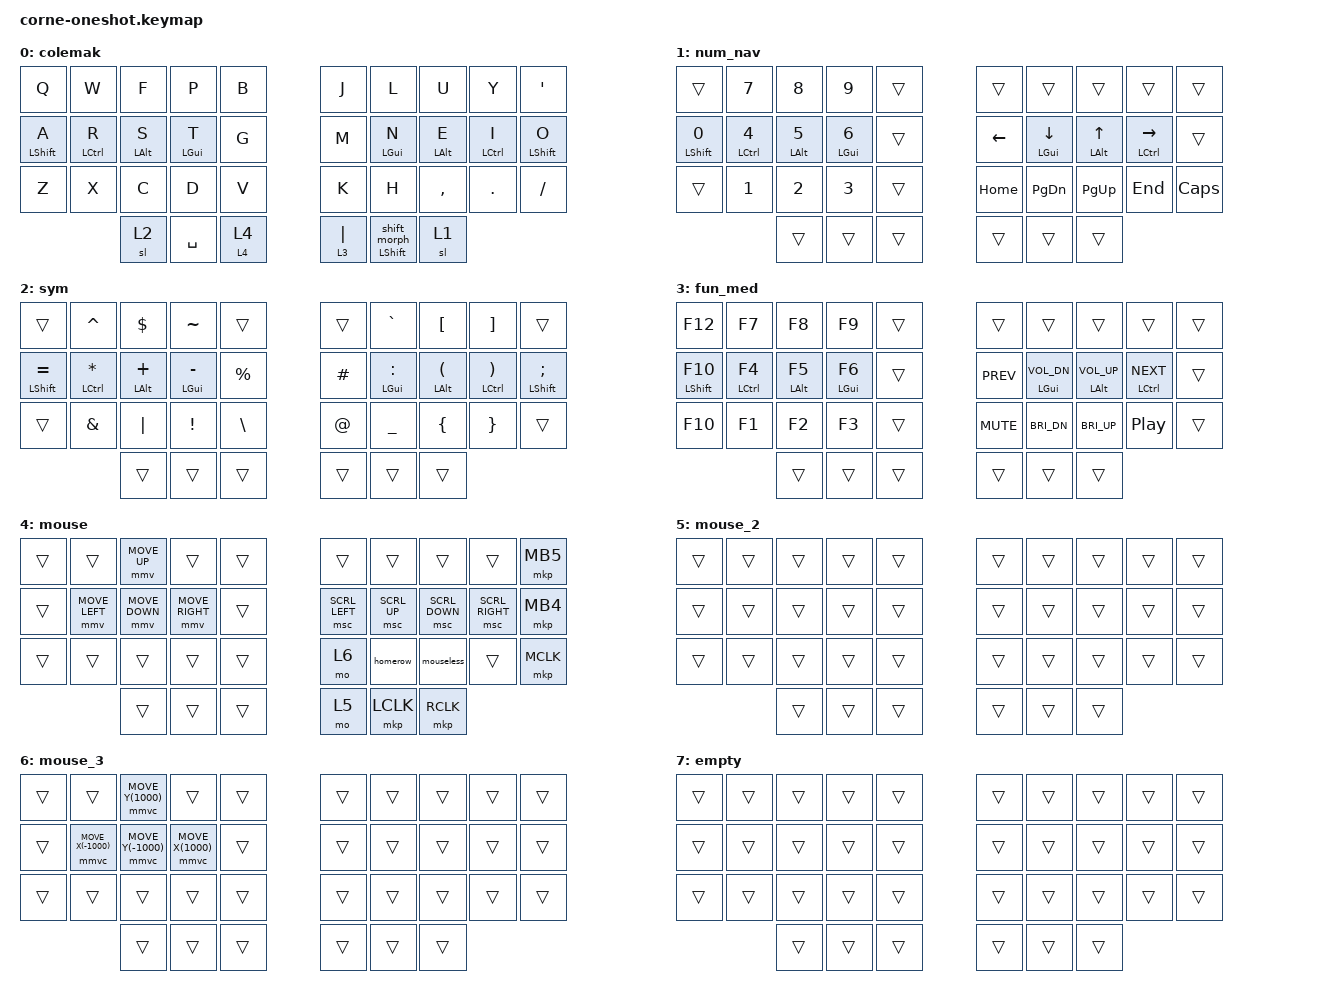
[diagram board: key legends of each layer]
#define ZMK_POINTING_DEFAULT_MOVE_VAL 1500 // 600
#define ZMK_POINTING_DEFAULT_SCRL_VAL 30 // 10

#define ___ &trans

#include <behaviors.dtsi>
#include <dt-bindings/zmk/keys.h>
#include <dt-bindings/zmk/bt.h>

#include <dt-bindings/zmk/pointing.h>
#include <input/processors.dtsi>

&mmv {
    acceleration-exponent = <1>;      // 1
    time-to-max-speed-ms = <500>;     // 300
    trigger-period-ms = <8>;
};

&msc {
    acceleration-exponent = <1>;      // 0
    time-to-max-speed-ms = <40>;      // 300
    trigger-period-ms = <8>;
};

&mmv_input_listener {
    precision {
        layers = <5>;
        input-processors = <&zip_xy_scaler 1 4>;
    };
};

&msc_input_listener {
    turbo {
        layers = <5>;
        input-processors = <&zip_scroll_scaler 4 1>;
    };
};

// make sticky keys release on the next key press instead of the default key
// release, this was causing problems with rolling letters
&sk {
    quick-release;
};

/ {
    macros {
        mouseless: mouseless {
            compatible = "zmk,behavior-macro";
            #binding-cells = <0>;
            bindings
                = <&macro_tap &to 0>
                , <&macro_tap &kp LA(LC(LS(LG(F))))>;
        };
        homerow: homerow {
            compatible = "zmk,behavior-macro";
            #binding-cells = <0>;
            bindings
                = <&macro_tap &to 0>
                , <&macro_tap &kp LA(LC(LS(LG(H))))>;
        };
    };
};

/ {
    combos {
        compatible = "zmk,combos";

        combo_mouse_off {
            timeout-ms = <35>;
            key-positions = <11 12>;
            bindings = <&tog 4>;
            layers = <4>;
        };

        combo_homerow {
            timeout-ms = <35>;
            key-positions = <2 12>;
            bindings = <&kp LA(LC(LS(LG(H))))>;
            require-prior-idle-ms = <125>;
        };
        combo_mouseless {
            timeout-ms = <35>;
            key-positions = <13 14>;
            bindings = <&kp LA(LC(LS(LG(F))))>;
            require-prior-idle-ms = <125>;
        };
        combo_esc {
            timeout-ms = <35>;
            key-positions = <11 12>;
            bindings = <&lmt LA(LCTRL) ESC>;
            require-prior-idle-ms = <125>;
        };
        combo_alt_bspc {
            timeout-ms = <35>;
            key-positions = <16 17>;
            bindings = <&rmt LA(LGUI) LA(BSPC)>;
            require-prior-idle-ms = <125>;
        };
        combo_bspc {
            timeout-ms = <35>;
            key-positions = <17 18>;
            bindings = <&rmt LA(LCTRL) BSPC>;
            require-prior-idle-ms = <125>;
        };
        combo_del {
            timeout-ms = <35>;
            key-positions = <18 19>;
            bindings = <&rmt LC(LSHIFT) DEL>;
            require-prior-idle-ms = <125>;
        };
        combo_tab {
            timeout-ms = <35>;
            key-positions = <21 22>;
            bindings = <&kp TAB>;
            require-prior-idle-ms = <125>;
        };
        combo_shift_tab {
            timeout-ms = <35>;
            key-positions = <20 21>;
            bindings = <&kp LS(TAB)>;
            require-prior-idle-ms = <125>;
        };
        combo_ret {
            timeout-ms = <35>;
            key-positions = <27 28>;
            bindings = <&kp RET>;
            require-prior-idle-ms = <125>;
        };
        combo_shift_ret {
            timeout-ms = <35>;
            key-positions = <26 27>;
            bindings = <&kp LS(RET)>;
            require-prior-idle-ms = <125>;
        };
    };
};

/ {
    chosen {
        zmk,physical-layout = &foostan_corne_5col_layout;
    };

    behaviors {
        mmvc: mouse_move_constant {
                compatible = "zmk,behavior-input-two-axis";
                #binding-cells = <1>;
                x-input-code = <INPUT_REL_X>;
                y-input-code = <INPUT_REL_Y>;
                time-to-max-speed-ms = <300>;  // irrelevant
                acceleration-exponent = <0>;  // changed to zero
        };

        mmvc_input_listener: mmvc_input_listener {
            compatible = "zmk,input-listener";
            device = <&mmvc>;
        };

        mo_tog: mo_tog {
            compatible = "zmk,behavior-hold-tap";
            flavor = "hold-preferred";
            bindings = <&mo>, <&tog>;
            #binding-cells = <2>;
            tapping-term-ms = <150>;
        };

        // urob idea: use mod-morph instead of tap-dance to avoid the delay.
        // The first press activates shift, the second press sees that shift is
        // active and triggers caps_word.
        shift_morph: shift_morph {
            compatible = "zmk,behavior-mod-morph";
            #binding-cells = <0>;
            bindings = <&sk LSHFT>, <&caps_word>;
            mods = <(MOD_LSFT)>;
        };
        msft: magic_shift {
            compatible = "zmk,behavior-hold-tap";
            #binding-cells = <2>;
            flavor = "balanced";
            tapping-term-ms = <200>;
            quick-tap-ms = <175>;
            bindings = <&kp>, <&shift_morph>;
        };

        blt: balanced_layer_tap {
            compatible = "zmk,behavior-hold-tap";
            flavor = "balanced";
            bindings = <&mo>, <&kp>;
            #binding-cells = <2>;
            tapping-term-ms = <200>;
            quick-tap-ms = <200>;
        };
        bmt: balanced_mod_tap {
            compatible = "zmk,behavior-hold-tap";
            flavor = "balanced";
            bindings = <&kp>, <&kp>;
            #binding-cells = <2>;
            tapping-term-ms = <200>;
            quick-tap-ms = <200>;
        };
        lmt: left_mod_tap {
            compatible = "zmk,behavior-hold-tap";
            flavor = "balanced";
            bindings = <&kp>, <&kp>;
            #binding-cells = <2>;
            tapping-term-ms = <200>;
            quick-tap-ms = <200>;
            require-prior-idle-ms = <125>;
            hold-trigger-key-positions = <5 6 7 8 9 15 16 17 18 19 25 26 27 28 29 33 34 35>;
            hold-trigger-on-release;
        };
        rmt: right_mod_tap {
            compatible = "zmk,behavior-hold-tap";
            flavor = "balanced";
            bindings = <&kp>, <&kp>;
            #binding-cells = <2>;
            tapping-term-ms = <200>;
            quick-tap-ms = <200>;
            require-prior-idle-ms = <125>;
            hold-trigger-key-positions = <0 1 2 3 4 10 11 12 13 14 20 21 22 23 24 30 31 32>;
            hold-trigger-on-release;
        };
    };

    keymap {
        compatible = "zmk,keymap";

        colemak {
            bindings = <
&kp Q               &kp W               &kp F               &kp P               &kp B               &kp J               &kp L               &kp U               &kp Y               &kp SQT
&lmt LSHIFT A       &lmt LCTRL R        &lmt LALT S         &lmt LGUI T         &kp G               &kp M               &rmt LGUI N         &rmt LALT E         &rmt LCTRL I        &rmt LSHIFT O
&kp Z               &kp X               &kp C               &kp D               &kp V               &kp K               &kp H               &kp COMMA           &kp DOT             &kp FSLH
                                        &sl 2               &kp SPACE           &mo_tog 4 4         &blt 3 PIPE         &msft LSHIFT 0      &sl 1
            >;
        };

        num_nav {
            bindings = <
___                 &kp N7              &kp N8              &kp N9              ___                 ___                 ___                 ___                 ___                 ___
&lmt LSHIFT N0      &lmt LCTRL N4       &lmt LALT N5        &lmt LGUI N6        ___                 &kp LEFT            &rmt LGUI DOWN      &rmt LALT UP        &rmt LCTRL RIGHT    ___
___                 &kp N1              &kp N2              &kp N3              ___                 &kp HOME            &kp PG_DN           &kp PG_UP           &kp END             &kp CAPS
                                        ___                 ___                 ___                 ___                 ___                 ___
            >;
        };

        sym {
            bindings = <
___                 &kp CARET           &kp DLLR            &kp TILDE           ___                 ___                 &kp GRAVE           &kp LBKT            &kp RBKT            ___
&lmt LSHIFT EQUAL   &lmt LCTRL STAR     &lmt LALT PLUS      &lmt LGUI MINUS     &kp PRCNT           &kp HASH            &rmt LGUI COLON     &rmt LALT LPAR      &rmt LCTRL RPAR     &rmt LSHIFT SEMI
___                 &kp AMPS            &kp PIPE            &kp EXCL            &kp BSLH            &kp AT              &kp UNDER           &kp LBRC            &kp RBRC            ___
                                        ___                 ___                 ___                 ___                 ___                 ___
            >;
        };

        fun_med {
            bindings = <
&kp F12             &kp F7              &kp F8              &kp F9              ___                 ___                 ___                 ___                 ___                 ___
&lmt LSHIFT F10     &lmt LCTRL F4       &lmt LALT F5        &lmt LGUI F6        ___                 &kp C_PREV          &rmt LGUI C_VOL_DN  &rmt LALT C_VOL_UP  &rmt LCTRL C_NEXT   ___
&kp F10             &kp F1              &kp F2              &kp F3              ___                 &kp C_MUTE          &kp C_BRI_DN        &kp C_BRI_UP        &kp C_PP            ___
                                        ___                 ___                 ___                 ___                 ___                 ___
            >;
        };

        mouse {
            bindings = <
___                 ___                 &mmv MOVE_UP        ___                 ___                 ___                 ___                 ___                 ___                 &mkp MB5
___                 &mmv MOVE_LEFT      &mmv MOVE_DOWN      &mmv MOVE_RIGHT     ___                 &msc SCRL_LEFT      &msc SCRL_UP        &msc SCRL_DOWN      &msc SCRL_RIGHT     &mkp MB4
___                 ___                 ___                 ___                 ___                 &mo 6               &homerow            &mouseless          ___                 &mkp MCLK
                                        ___                 ___                 ___                 &mo 5               &mkp LCLK           &mkp RCLK
            >;
        };

        mouse_2 {
            bindings = <
___                 ___                 ___                 ___                 ___                 ___                 ___                 ___                 ___                 ___
___                 ___                 ___                 ___                 ___                 ___                 ___                 ___                 ___                 ___
___                 ___                 ___                 ___                 ___                 ___                 ___                 ___                 ___                 ___
                                        ___                 ___                 ___                 ___                 ___                 ___
            >;
        };

        mouse_3 {
            bindings = <
___                 ___                 &mmvc MOVE_Y(1000)  ___                 ___                 ___                 ___                 ___                 ___                 ___
___                 &mmvc MOVE_X(-1000) &mmvc MOVE_Y(-1000) &mmvc MOVE_X(1000)  ___                 ___                 ___                 ___                 ___                 ___
___                 ___                 ___                 ___                 ___                 ___                 ___                 ___                 ___                 ___
                                        ___                 ___                 ___                 ___                 ___                 ___
            >;
        };

        empty {
            bindings = <
___                 ___                 ___                 ___                 ___                 ___                 ___                 ___                 ___                 ___
___                 ___                 ___                 ___                 ___                 ___                 ___                 ___                 ___                 ___
___                 ___                 ___                 ___                 ___                 ___                 ___                 ___                 ___                 ___
                                        ___                 ___                 ___                 ___                 ___                 ___
            >;
        };
    };
};
